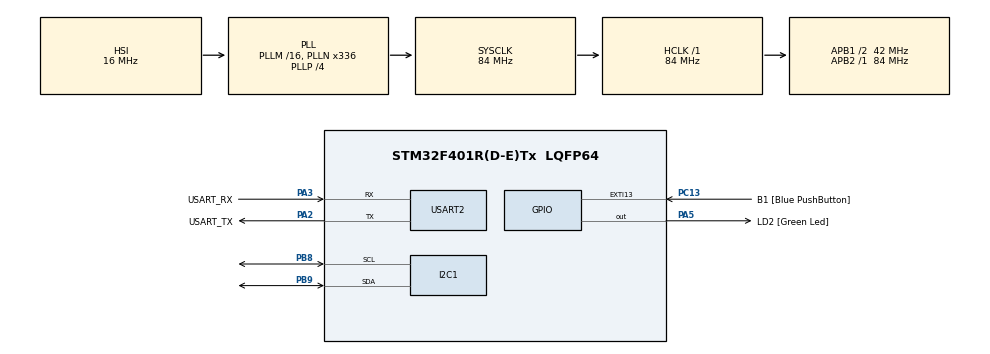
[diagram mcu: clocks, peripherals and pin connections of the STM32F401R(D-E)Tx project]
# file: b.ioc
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Dma.Request0=USART2_TX
Dma.USART2_TX.0.Direction=DMA_MEMORY_TO_PERIPH
Dma.USART2_TX.0.FIFOMode=DMA_FIFOMODE_DISABLE
Dma.USART2_TX.0.Instance=DMA1_Stream6
Dma.USART2_TX.0.MemDataAlignment=DMA_MDATAALIGN_BYTE
Dma.USART2_TX.0.MemInc=DMA_MINC_ENABLE
Dma.USART2_TX.0.Mode=DMA_NORMAL
Dma.USART2_TX.0.PeriphDataAlignment=DMA_PDATAALIGN_BYTE
Dma.USART2_TX.0.PeriphInc=DMA_PINC_DISABLE
Dma.USART2_TX.0.Priority=DMA_PRIORITY_LOW
Mcu.Family=STM32F4
Mcu.Name=STM32F401R(D-E)Tx
Mcu.Package=LQFP64
NVIC.DMA1_Stream6_IRQn=true\:0\:0\:false\:false\:true\:false\:true\:true
NVIC.PriorityGroup=NVIC_PRIORITYGROUP_0
NVIC.TIM2_IRQn=true\:0\:0\:false\:false\:true\:true\:true\:true
NVIC.USART2_IRQn=true\:0\:0\:false\:false\:true\:true\:true\:true
PA13.GPIO_Label=TMS
PA13.Mode=Serial_Wire
PA13.Signal=SYS_JTMS-SWDIO
PA14.GPIO_Label=TCK
PA14.Mode=Serial_Wire
PA14.Signal=SYS_JTCK-SWCLK
PA2.GPIO_Label=USART_TX
PA2.GPIO_Mode=GPIO_MODE_AF_PP
PA2.GPIO_PuPd=GPIO_NOPULL
PA2.GPIO_Speed=GPIO_SPEED_FREQ_LOW
PA2.Mode=Asynchronous
PA2.Signal=USART2_TX
PA3.GPIO_Label=USART_RX
PA3.GPIO_Mode=GPIO_MODE_AF_PP
PA3.GPIO_PuPd=GPIO_NOPULL
PA3.GPIO_Speed=GPIO_SPEED_FREQ_LOW
PA3.Mode=Asynchronous
PA3.Signal=USART2_RX
PA5.GPIO_Label=LD2 [Green Led]
PA5.GPIO_Mode=GPIO_MODE_OUTPUT_PP
PA5.GPIO_PuPd=GPIO_NOPULL
PA5.GPIO_Speed=GPIO_SPEED_FREQ_LOW
PA5.Signal=GPIO_Output
PB3.GPIO_Label=SWO
PB3.Signal=SYS_JTDO-SWO
PB8.Mode=I2C
PB8.Signal=I2C1_SCL
PB9.Mode=I2C
PB9.Signal=I2C1_SDA
PC13-ANTI_TAMP.GPIO_Label=B1 [Blue PushButton]
PC13-ANTI_TAMP.GPIO_ModeDefaultEXTI=GPIO_MODE_IT_FALLING
PC13-ANTI_TAMP.GPIO_PuPd=GPIO_NOPULL
PC13-ANTI_TAMP.Signal=GPXTI13
PC14-OSC32_IN.Mode=LSE-External-Oscillator
PC14-OSC32_IN.Signal=RCC_OSC32_IN
PC15-OSC32_OUT.Mode=LSE-External-Oscillator
PC15-OSC32_OUT.Signal=RCC_OSC32_OUT
PH0\ -\ OSC_IN.Mode=HSE-External-Clock-Source
PH0\ -\ OSC_IN.Signal=RCC_OSC_IN
PH1\ -\ OSC_OUT.Mode=HSE-External-Clock-Source
PH1\ -\ OSC_OUT.Signal=RCC_OSC_OUT
ProjectManager.HeapSize=0x200
ProjectManager.StackSize=0x400
ProjectManager.TargetToolchain=STM32CubeIDE
RCC.48MHZClocksFreq_Value=48000000
RCC.AHBFreq_Value=84000000
RCC.APB1CLKDivider=RCC_HCLK_DIV2
RCC.APB1Freq_Value=42000000
RCC.APB1TimFreq_Value=84000000
RCC.APB2Freq_Value=84000000
RCC.APB2TimFreq_Value=84000000
RCC.CortexFreq_Value=84000000
RCC.HCLKFreq_Value=84000000
RCC.HSE_VALUE=8000000
RCC.HSI_VALUE=16000000
RCC.PLLN=336
RCC.PLLP=RCC_PLLP_DIV4
RCC.PLLQ=7
RCC.SYSCLKFreq_VALUE=84000000
RCC.SYSCLKSource=RCC_SYSCLKSOURCE_PLLCLK
RCC.VCOOutputFreq_Value=336000000
TIM2.Channel-Output\ Compare1\ No\ Output=TIM_CHANNEL_1
TIM2.Period=60000 - 1
TIM2.Prescaler=1400 - 1
USART2.VirtualMode=VM_ASYNC
VP_TIM2_VS_no_output1.Mode=Output Compare1 No Output
board=NUCLEO-F401RE

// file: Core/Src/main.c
/* USER CODE BEGIN Header */
/**
  ******************************************************************************
  * @file           : main.c
  * @brief          : Main program body
  ******************************************************************************
  * @attention
  *
  * Copyright (c) 2023 STMicroelectronics.
  * All rights reserved.
  *
  * This software is licensed under terms that can be found in the LICENSE file
  * in the root directory of this software component.
  * If no LICENSE file comes with this software, it is provided AS-IS.
  *
  ******************************************************************************
  */
/* USER CODE END Header */
#include "main.h"

/* USER CODE BEGIN Includes */

#include <string.h>
#include <stdio.h>

/* USER CODE END Includes */

I2C_HandleTypeDef hi2c1;

TIM_HandleTypeDef htim2;

UART_HandleTypeDef huart2;
DMA_HandleTypeDef hdma_usart2_tx;

/* USER CODE BEGIN PV */

uint16_t address = 0x28 << 1; // 8 bit address

// Registers
uint8_t WHO_AM_I = 0x0f;
uint8_t CTRL_REG1 = 0x20;
uint8_t CTRL_REG2 = 0x21;
uint8_t CTRL_REG4 = 0x23;
uint8_t OUT_X = 0x29;
uint8_t OUT_Y = 0x2b;
uint8_t OUT_Z = 0x2d;

// Constants
const uint16_t MAX_SAMPLING_VALUE = 256;
const uint8_t SCALE = 2; // +-2G
const float SENSITIVITY = SCALE * 2.f / MAX_SAMPLING_VALUE;

/* USER CODE END PV */

void SystemClock_Config(void);
static void MX_GPIO_Init(void);
static void MX_DMA_Init(void);
static void MX_USART2_UART_Init(void);
static void MX_I2C1_Init(void);
static void MX_TIM2_Init(void);
/* USER CODE BEGIN PFP */

uint8_t readRegister(uint8_t reg);
void writeRegister(uint8_t reg, uint8_t content);

/* USER CODE END PFP */

/* USER CODE BEGIN 0 */

uint8_t readRegister(uint8_t reg)
{
	uint8_t data;

	// Send the first request to write the register address
	HAL_I2C_Master_Transmit(&hi2c1, address, &reg, 1, HAL_MAX_DELAY);

	// Then read the answer
	HAL_I2C_Master_Receive(&hi2c1, address, &data, 1, HAL_MAX_DELAY);

	return data;
}

void writeRegister(uint8_t reg, uint8_t content)
{
	uint8_t data[2] = {reg, content};

	// Write the combination of register address and content
	HAL_I2C_Master_Transmit(&hi2c1, address, data, 2, HAL_MAX_DELAY);
}

/* USER CODE END 0 */

int main(void)
{
  /* USER CODE BEGIN 1 */

  char printBuffer[100];

  /* USER CODE END 1 */

  /* MCU Configuration--------------------------------------------------------*/

  /* Reset of all peripherals, Initializes the Flash interface and the Systick. */
  HAL_Init();

  /* Configure the system clock */
  SystemClock_Config();

  /* Initialize all configured peripherals */
  MX_GPIO_Init();
  MX_DMA_Init();
  MX_USART2_UART_Init();
  MX_I2C1_Init();
  MX_TIM2_Init();
  /* USER CODE BEGIN 2 */

  // Check WHO_AM_I
  uint8_t data;

  // Get the whoami register
  data = readRegister(WHO_AM_I);

  if(data != 0x33)
  {
	  sprintf(printBuffer, "Error validating the WHO AM I. Answer: %X\r\n", data);
	  HAL_UART_Transmit(&huart2, (uint8_t *) printBuffer, strlen(printBuffer), HAL_MAX_DELAY);
	  return 1;
  }

  // The check has been done with success
  sprintf(printBuffer, "WHO AM I correct!\r\n");
  HAL_UART_Transmit(&huart2, (uint8_t *) printBuffer, strlen(printBuffer), HAL_MAX_DELAY);

  // Configure the normal mode
  data = readRegister(CTRL_REG1);

  // Set the third bit to 0 in normal mode
  data &= 0b11110111;

  // Set the data rate to 100Hz
  data &= 0b00001111;
  data |= 0b01010000;

  // Send the config
  writeRegister(CTRL_REG1, data);

  // Set the high pass filter to disabled
  data = 0x00;

  // Send the config
  writeRegister(CTRL_REG2, data);

  // Set the full scale value to +-2g
  data = readRegister(CTRL_REG4);

  // 00 means +-2g
  data &= 0b11001111;

  // Send the config
  writeRegister(CTRL_REG4, data);

  // Enable the periodic timer
  HAL_TIM_Base_Start_IT(&htim2);

  /* USER CODE END 2 */

  /* Infinite loop */
  while (1)
  {

  }
}

void SystemClock_Config(void)
{
  RCC_OscInitTypeDef RCC_OscInitStruct = {0};
  RCC_ClkInitTypeDef RCC_ClkInitStruct = {0};

  /** Configure the main internal regulator output voltage
  */
  __HAL_RCC_PWR_CLK_ENABLE();
  __HAL_PWR_VOLTAGESCALING_CONFIG(PWR_REGULATOR_VOLTAGE_SCALE2);

  /** Initializes the RCC Oscillators according to the specified parameters
  * in the RCC_OscInitTypeDef structure.
  */
  RCC_OscInitStruct.OscillatorType = RCC_OSCILLATORTYPE_HSI;
  RCC_OscInitStruct.HSIState = RCC_HSI_ON;
  RCC_OscInitStruct.HSICalibrationValue = RCC_HSICALIBRATION_DEFAULT;
  RCC_OscInitStruct.PLL.PLLState = RCC_PLL_ON;
  RCC_OscInitStruct.PLL.PLLSource = RCC_PLLSOURCE_HSI;
  RCC_OscInitStruct.PLL.PLLM = 16;
  RCC_OscInitStruct.PLL.PLLN = 336;
  RCC_OscInitStruct.PLL.PLLP = RCC_PLLP_DIV4;
  RCC_OscInitStruct.PLL.PLLQ = 7;
  if (HAL_RCC_OscConfig(&RCC_OscInitStruct) != HAL_OK)
  {
    Error_Handler();
  }

  /** Initializes the CPU, AHB and APB buses clocks
  */
  RCC_ClkInitStruct.ClockType = RCC_CLOCKTYPE_HCLK|RCC_CLOCKTYPE_SYSCLK
                              |RCC_CLOCKTYPE_PCLK1|RCC_CLOCKTYPE_PCLK2;
  RCC_ClkInitStruct.SYSCLKSource = RCC_SYSCLKSOURCE_PLLCLK;
  RCC_ClkInitStruct.AHBCLKDivider = RCC_SYSCLK_DIV1;
  RCC_ClkInitStruct.APB1CLKDivider = RCC_HCLK_DIV2;
  RCC_ClkInitStruct.APB2CLKDivider = RCC_HCLK_DIV1;

  if (HAL_RCC_ClockConfig(&RCC_ClkInitStruct, FLASH_LATENCY_2) != HAL_OK)
  {
    Error_Handler();
  }
}

static void MX_I2C1_Init(void)
{

  hi2c1.Instance = I2C1;
  hi2c1.Init.ClockSpeed = 100000;
  hi2c1.Init.DutyCycle = I2C_DUTYCYCLE_2;
  hi2c1.Init.OwnAddress1 = 0;
  hi2c1.Init.AddressingMode = I2C_ADDRESSINGMODE_7BIT;
  hi2c1.Init.DualAddressMode = I2C_DUALADDRESS_DISABLE;
  hi2c1.Init.OwnAddress2 = 0;
  hi2c1.Init.GeneralCallMode = I2C_GENERALCALL_DISABLE;
  hi2c1.Init.NoStretchMode = I2C_NOSTRETCH_DISABLE;
  if (HAL_I2C_Init(&hi2c1) != HAL_OK)
  {
    Error_Handler();
  }

}

static void MX_TIM2_Init(void)
{

  TIM_MasterConfigTypeDef sMasterConfig = {0};
  TIM_OC_InitTypeDef sConfigOC = {0};

  htim2.Instance = TIM2;
  htim2.Init.Prescaler = 1400 - 1;
  htim2.Init.CounterMode = TIM_COUNTERMODE_UP;
  htim2.Init.Period = 60000 - 1;
  htim2.Init.ClockDivision = TIM_CLOCKDIVISION_DIV1;
  htim2.Init.AutoReloadPreload = TIM_AUTORELOAD_PRELOAD_DISABLE;
  if (HAL_TIM_OC_Init(&htim2) != HAL_OK)
  {
    Error_Handler();
  }
  sMasterConfig.MasterOutputTrigger = TIM_TRGO_RESET;
  sMasterConfig.MasterSlaveMode = TIM_MASTERSLAVEMODE_DISABLE;
  if (HAL_TIMEx_MasterConfigSynchronization(&htim2, &sMasterConfig) != HAL_OK)
  {
    Error_Handler();
  }
  sConfigOC.OCMode = TIM_OCMODE_TIMING;
  sConfigOC.Pulse = 0;
  sConfigOC.OCPolarity = TIM_OCPOLARITY_HIGH;
  sConfigOC.OCFastMode = TIM_OCFAST_DISABLE;
  if (HAL_TIM_OC_ConfigChannel(&htim2, &sConfigOC, TIM_CHANNEL_1) != HAL_OK)
  {
    Error_Handler();
  }

}

static void MX_USART2_UART_Init(void)
{

  huart2.Instance = USART2;
  huart2.Init.BaudRate = 115200;
  huart2.Init.WordLength = UART_WORDLENGTH_8B;
  huart2.Init.StopBits = UART_STOPBITS_1;
  huart2.Init.Parity = UART_PARITY_NONE;
  huart2.Init.Mode = UART_MODE_TX_RX;
  huart2.Init.HwFlowCtl = UART_HWCONTROL_NONE;
  huart2.Init.OverSampling = UART_OVERSAMPLING_16;
  if (HAL_UART_Init(&huart2) != HAL_OK)
  {
    Error_Handler();
  }

}

static void MX_DMA_Init(void)
{

  /* DMA controller clock enable */
  __HAL_RCC_DMA1_CLK_ENABLE();

  /* DMA interrupt init */
  /* DMA1_Stream6_IRQn interrupt configuration */
  HAL_NVIC_SetPriority(DMA1_Stream6_IRQn, 0, 0);
  HAL_NVIC_EnableIRQ(DMA1_Stream6_IRQn);

}

static void MX_GPIO_Init(void)
{
  GPIO_InitTypeDef GPIO_InitStruct = {0};

  /* GPIO Ports Clock Enable */
  __HAL_RCC_GPIOC_CLK_ENABLE();
  __HAL_RCC_GPIOH_CLK_ENABLE();
  __HAL_RCC_GPIOA_CLK_ENABLE();
  __HAL_RCC_GPIOB_CLK_ENABLE();

  /*Configure GPIO pin Output Level */
  HAL_GPIO_WritePin(LD2_GPIO_Port, LD2_Pin, GPIO_PIN_RESET);

  /*Configure GPIO pin : B1_Pin */
  GPIO_InitStruct.Pin = B1_Pin;
  GPIO_InitStruct.Mode = GPIO_MODE_IT_FALLING;
  GPIO_InitStruct.Pull = GPIO_NOPULL;
  HAL_GPIO_Init(B1_GPIO_Port, &GPIO_InitStruct);

  /*Configure GPIO pin : LD2_Pin */
  GPIO_InitStruct.Pin = LD2_Pin;
  GPIO_InitStruct.Mode = GPIO_MODE_OUTPUT_PP;
  GPIO_InitStruct.Pull = GPIO_NOPULL;
  GPIO_InitStruct.Speed = GPIO_SPEED_FREQ_LOW;
  HAL_GPIO_Init(LD2_GPIO_Port, &GPIO_InitStruct);

}

/* USER CODE BEGIN 4 */

void HAL_TIM_PeriodElapsedCallback(TIM_HandleTypeDef *htim)
{
	// Results declaration
	float X,Y,Z;
	char printBuffer[100];
	uint8_t data;

	// Read the X axis
	data = readRegister(OUT_X);
	X = ((int8_t)data) * SENSITIVITY;

	// Read the X axis
	data = readRegister(OUT_Y);
	Y = ((int8_t)data) * SENSITIVITY;

	// Read the X axis
	data = readRegister(OUT_Z);
	Z = ((int8_t)data) * SENSITIVITY;

	sprintf(printBuffer, "X: %.2f g\n\rY: %.2f g\n\rZ: %.2f g\r\n", X, Y, Z);
	HAL_UART_Transmit_DMA(&huart2, (uint8_t *) printBuffer, strlen(printBuffer));
}

/* USER CODE END 4 */

void Error_Handler(void)
{
  __disable_irq();
  while (1)
  {
  }
}
